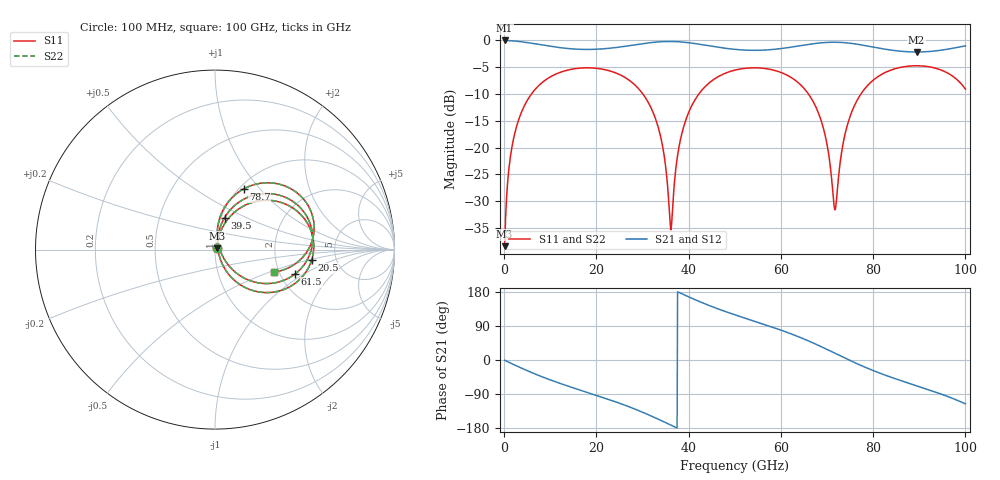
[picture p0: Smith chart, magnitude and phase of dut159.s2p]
! Touchstone file exported from HFSS 2026.1.0
!  File:  C:/ffzhzh/LocalFiles/Ansys_Project_Files/temp_train_TSV_RDL_159_1783647841_33328.aedt
!  Generated:  09:50:21 AM Jul 10, 2026
!  Design:  TSV_RDL
!  Project:  temp_train_TSV_RDL_159_1783647841_33328
! Variables:
!  h_bsmrdl = 3.76um
!  h_ox = 20um
!  h_rdl = 5um
!  h_sub = 53.33um
!  h_tmrdl = 2.37um
!  h_tsv = 53.33um
!  h_via = 3um
!  l_bsmrdl = 215.93um
!  l_sub = 1686.77um
!  l_tmrdl = 132.97um
!  m_sub = 200um
!  pitch = 48.32um
!  r_tsv = 7.34um
!  s_tmrdl = 10um
!  w_bsmrdl = 21.54um
!  w_sub = 500um
!  w_tmrdl = 14.16um
!  x_tsv_center1 = 140.05um
!  x_tsv_center2 = 377.52um
!  x_tsv_center3 = 524.65um
!  x_tsv_center4 = 762.12um
!  x_tsv_center5 = 909.25um
!  x_tsv_center6 = 1146.72um
# GHz S MA R 50.000000
! Terminal data exported
! Port[1] = TM_RDL1_1_T1
! Port[2] = TM_RDL5_1_T1
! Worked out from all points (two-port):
!   1000 points, 100 MHz to 100 GHz, reference 50 ohm
!   highest |S21| = -0.09 dB at 100 MHz (marker M1); lowest = -2.2 dB at 89.4 GHz (marker M2)
!   |S21| within 3 dB of the highest: start of sweep to end of sweep
!   lowest |S11| = -38.4 dB at 100 MHz (marker M3), VSWR 1.02, Z = 51 + j0.638 ohm
!   |S11| at or under -10 dB: start of sweep to 5.96 GHz; 30.04 GHz to 42.26 GHz (12.23 GHz wide, 33.8 % of centre); 65.93 GHz to 77.39 GHz (11.46 GHz wide, 16 % of centre)
!   |S22| runs from -38.4 to -4.8 dB; largest |S21 - S12| = 6.4e-14
!   S11 on the Smith chart (normalised r, x): 100 MHz: 1.02, +0.01; 20.5 GHz: 3.27, -0.54; 39.5 GHz: 1.04, +0.38; 61.5 GHz: 2.41, -0.84; 78.7 GHz: 1.05, +0.82; 100 GHz: 1.87, -0.54
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0.1  0.01209 31.1  0.9897 -0.6  0.9897 -0.6  0.01209 31.1
! Gamma 0 0 0 0
! Port Impedance 50 0 50 0
1.6  0.09595 73.0  0.9827 -9.4  0.9827 -9.4  0.09595 73.0
4.3  0.2402 61.9  0.9555 -24.4  0.9555 -24.4  0.2402 61.9
9.3  0.4343 38.4  0.883 -49.3  0.883 -49.3  0.4343 38.4
16.8  0.5487 8.0  0.818 -80.6  0.818 -80.6  0.5487 8.0
20.5  0.5419 -6.2  0.8221 -95.2  0.8221 -95.2  0.5419 -6.2
28.6  0.3726 -40.0  0.9048 -130.7  0.9048 -130.7  0.3726 -40.0
33.4  0.1542 -61.2  0.9593 -156.1  0.9593 -156.1  0.1542 -61.2
36.2  0.0173 17.6  0.9681 -172.0  0.9681 -172.0  0.01725 17.6
37.7  0.08978 77.5  0.963 179.4  0.963 179.4  0.08975 77.6
39.5  0.1862 73.3  0.9484 169.3  0.9484 169.3  0.1862 73.3
43.7  0.3725 54.5  0.8931 147.4  0.8931 147.4  0.3724 54.5
50.1  0.5253 27.5  0.8172 118.9  0.8172 118.9  0.5252 27.5
61.5  0.4668 -16.9  0.8484 72.3  0.8484 72.3  0.4667 -16.9
66.7  0.2812 -39.7  0.9183 46.6  0.9183 46.6  0.2812 -39.7
69.6  0.1294 -49.2  0.9469 30.3  0.9469 30.3  0.1294 -49.2
71.7  0.0263 13.0  0.953 18.0  0.953 18.0  0.0263 13.0
74.4  0.1611 82.2  0.9388 2.1  0.9388 2.1  0.1611 82.3
78.7  0.3733 64.8  0.8798 -21.4  0.8798 -21.4  0.3733 64.8
83.4  0.5156 44.6  0.8108 -43.4  0.8108 -43.4  0.5155 44.6
89.4  0.5756 21.6  0.773 -67.9  0.773 -67.9  0.5755 21.6
100  0.3494 -21.1  0.8812 -115.6  0.8812 -115.6  0.3494 -21.0
